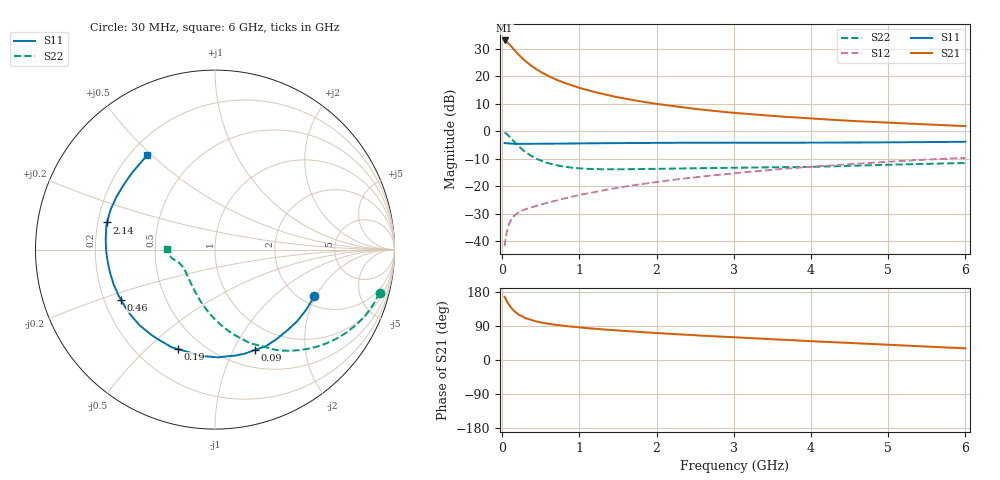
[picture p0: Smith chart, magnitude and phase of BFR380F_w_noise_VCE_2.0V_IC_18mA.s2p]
! Infineon Technologies  Discrete & RF Semiconductors
! BFR380F
! VCE =  2.0 V,  IC =  18 mA
! Common Emitter S-Parameters:  Nov 2015
# GHz  S  MA  R  50
!  f  S11  S21  S12  S22
! GHz  MAG  ANG  MAG  ANG  MAG  ANG  MAG  ANG
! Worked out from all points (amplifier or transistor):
!   206 points, 30 MHz to 6 GHz, reference 50 ohm
!   highest |S21| = 33.1 dB at 30 MHz (marker M1)
!   |S21| within 3 dB of that: start of sweep to 141.1 MHz
!   unconditionally stable (mu >= 1): 1.366 GHz to 5.215 GHz
!   at 200 MHz: K = 0.36, MSG = 29.0 dB, |S12| = -29.8 dB
!   at 1.56 GHz: K = 1.02, MAG = 15.3 dB, |S12| = -20.2 dB
!   at 6 GHz: K = 0.99, MSG = 5.8 dB, |S12| = -9.6 dB
!   lowest NFmin = 1.00 dB at 900 MHz
!   S11 on the Smith chart (normalised r, x): 30 MHz: 2.36, -1.94; 90 MHz: 0.70, -1.22; 190 MHz: 0.37, -0.63; 460 MHz: 0.27, -0.23; 2.14 GHz: 0.24, +0.12; 6 GHz: 0.27, +0.48
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0.03  0.6112 -25.0  45.29 166.9  0.0081 79.1  0.9493 -14.7
0.05  0.6074 -41.1  43.77 158.3  0.013 73.9  0.9135 -24.0
0.07  0.6054 -55.6  41.33 151.1  0.0173 68.3  0.8638 -32.6
0.09  0.6013 -68.2  38.62 144.8  0.0209 64.0  0.8106 -40.2
0.115  0.5992 -81.5  35.3 137.8  0.0246 59.2  0.7425 -48.6
0.145  0.5969 -95.3  31.61 130.9  0.028 55.3  0.6679 -57.2
0.19  0.5915 -110.6  26.85 123.3  0.0317 51.4  0.5732 -67.2
0.2  0.595 -113.9  25.87 121.3  0.0325 50.6  0.5548 -69.7
0.24  0.5922 -123.2  22.75 116.7  0.035 49.1  0.4925 -76.5
0.3  0.5949 -134.6  18.99 110.5  0.0381 48.1  0.4199 -85.8
0.36  0.594 -142.5  16.26 106.3  0.0406 48.2  0.3688 -93.1
0.46  0.5943 -152.1  13.04 100.8  0.0448 49.6  0.3104 -103.2
0.6  0.597 -161.1  10.15 95.5  0.0508 52.2  0.2624 -114.5
0.7  0.598 -165.7  8.758 92.6  0.0552 54.0  0.2418 -121.2
1.04  0.6034 -176.2  5.974 85.2  0.0712 58.9  0.2101 -137.3
1.42  0.6098 176.0  4.402 79.0  0.09 61.9  0.2035 -148.2
2.02  0.6194 167.4  3.137 71.0  0.1208 63.9  0.208 -156.5
2.14  0.6198 165.9  2.973 69.5  0.1271 64.0  0.2095 -157.5
3.1  0.6218 155.9  2.121 59.0  0.1778 63.4  0.2182 -162.1
4.1  0.6234 145.5  1.679 48.7  0.2318 60.4  0.2272 -164.1
5.1  0.6308 135.8  1.418 39.3  0.2847 56.4  0.2486 -170.1
6  0.6468 125.8  1.245 30.7  0.3297 51.6  0.2651 179.2
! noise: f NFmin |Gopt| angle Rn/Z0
0.45  1.04  0.18  170  0.08
0.9  1  0.24  167  0.08
1.8  1.24  0.35  -178  0.07
1.9  1.31  0.36  -178  0.07
2.4  1.41  0.39  -167  0.08
3.5  2.01  0.48  -154  0.12
